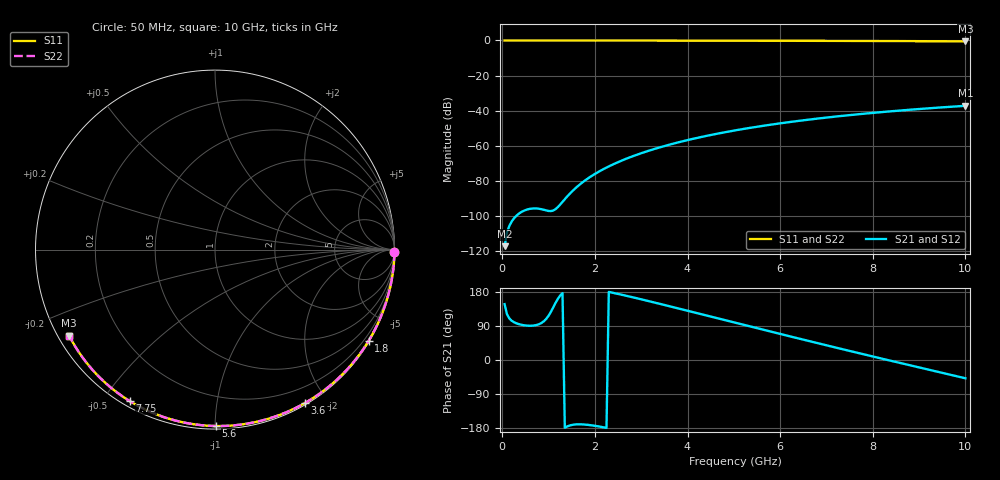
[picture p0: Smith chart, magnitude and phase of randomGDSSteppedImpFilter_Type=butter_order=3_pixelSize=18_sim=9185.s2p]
! freq	dB(S11)	phase(S11)	dB(S12)	phase(S12)
!  dB(S21)	phase(S21)	dB(S22)	phase(S22)
!S-par simulation data
#  GHz  S  DB  R 50
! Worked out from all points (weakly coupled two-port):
!   200 points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, 50 MHz to 10 GHz, reference 50 ohm
!   highest |S21| = -37.18 dB at 10 GHz (marker M1); lowest = -117.0 dB at 50 MHz (marker M2)
!   lowest |S11| = -0.5 dB at 10 GHz (marker M3), VSWR 34.38, Z = 1.56 - j13.6 ohm
!   |S11| at or under -10 dB: nowhere
!   |S22| runs from -0.5 to 0.0 dB; largest |S21 - S12| = 0
!   S11 on the Smith chart (normalised r, x): 50 MHz: open; 1.8 GHz: 0.03, -3.66; 3.6 GHz: 0.02, -1.74; 5.6 GHz: 0.02, -1.01; 7.75 GHz: 0.02, -0.58; 10 GHz: 0.03, -0.27
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0.05  -0.00 -0.9  -117.02 147.3  -117.02 147.3  -0.00 -0.9
0.45  -0.01 -7.8  -97.06 92.0  -97.06 92.0  -0.01 -7.8
0.9  -0.02 -15.5  -96.36 102.5  -96.36 102.5  -0.02 -15.4
1.3  -0.03 -22.2  -91.82 176.5  -91.82 176.5  -0.03 -22.2
1.75  -0.04 -29.8  -80.36 -170.1  -80.36 -170.1  -0.04 -29.8
1.8  -0.04 -30.6  -79.38 -170.5  -79.38 -170.5  -0.04 -30.6
1.95  -0.04 -33.1  -76.74 -172.7  -76.74 -172.7  -0.04 -33.1
2.1  -0.05 -35.6  -74.41 -175.7  -74.41 -175.7  -0.05 -35.6
2.3  -0.05 -38.8  -71.65 179.6  -71.65 179.6  -0.05 -38.8
2.5  -0.05 -42.1  -69.22 174.4  -69.22 174.4  -0.05 -42.1
2.9  -0.06 -48.6  -65.06 163.1  -65.06 163.1  -0.06 -48.6
3.4  -0.08 -56.5  -60.82 148.2  -60.82 148.2  -0.08 -56.5
3.6  -0.08 -59.7  -59.34 142.2  -59.34 142.2  -0.08 -59.6
4.3  -0.10 -70.4  -54.89 120.8  -54.89 120.8  -0.10 -70.4
5.05  -0.13 -81.6  -51.05 97.8  -51.05 97.8  -0.13 -81.6
5.6  -0.15 -89.6  -48.68 81.0  -48.68 81.0  -0.15 -89.6
6.15  -0.17 -97.4  -46.60 64.2  -46.60 64.2  -0.17 -97.4
6.7  -0.21 -105.1  -44.77 47.7  -44.77 47.7  -0.20 -105.1
7.75  -0.28 -119.4  -41.82 16.6  -41.82 16.6  -0.28 -119.4
8.35  -0.33 -127.4  -40.38 -0.9  -40.38 -0.9  -0.33 -127.4
9.2  -0.41 -138.8  -38.61 -25.3  -38.61 -25.3  -0.41 -138.7
10  -0.51 -149.5  -37.18 -48.2  -37.18 -48.2  -0.51 -149.5
